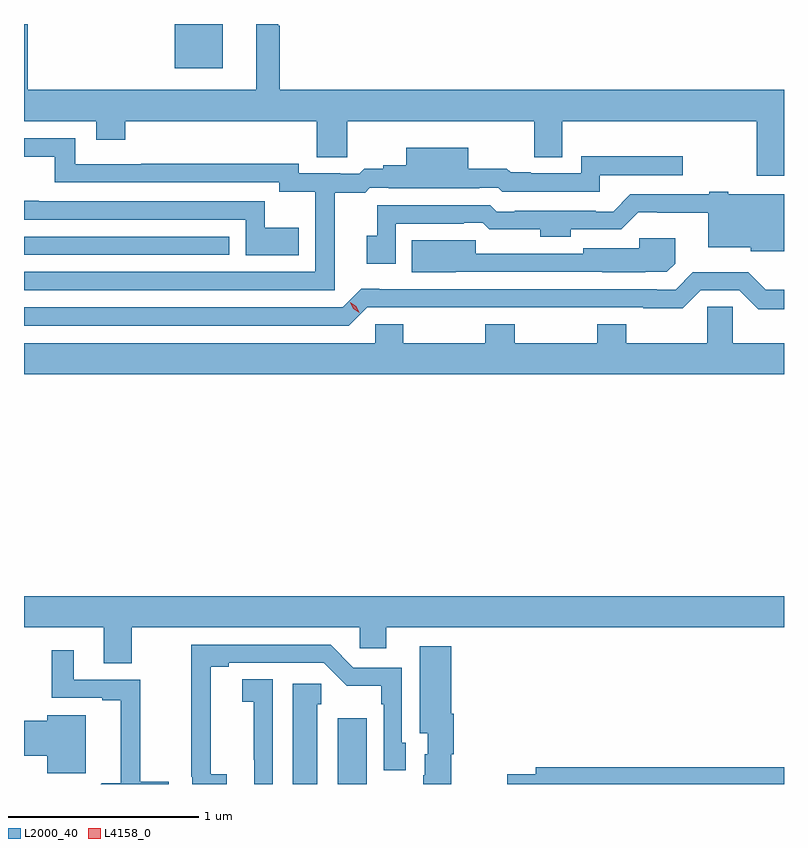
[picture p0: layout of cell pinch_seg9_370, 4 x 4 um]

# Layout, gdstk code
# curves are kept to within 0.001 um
import gdstk
lib = gdstk.Library(unit=1e-6, precision=1e-09)
def R(c, l, rs):  # rectangles x0, y0, x1, y1
    for r in rs: c.add(gdstk.rectangle(r[:2], r[2:], *l))
def P(c, l, *ps):  # polygons
    for p in ps: c.add(gdstk.Polygon(p, *l))
L2000_40 = (2000, 40)
L4158_0 = (4158, 0)

pinch_seg9_370 = lib.new_cell('pinch_seg9_370')
R(pinch_seg9_370, L2000_40, [(288.098,1227.563,288.25,1227.91), (286.446,1230.348,287.527,1230.444), (287.24,1231.331,287.491,1231.563)])
P(pinch_seg9_370, L2000_40, [(290.446,1231.216),(287.791,1231.216),(287.791,1231.553),(287.784,1231.553),(287.784,1231.563),(287.669,1231.563),(287.669,1231.216),(286.466,1231.216),(286.466,1231.563),(286.446,1231.563),(286.446,1231.052),(286.826,1231.052),(286.826,1230.953),(286.979,1230.953),(286.979,1231.052),(287.987,1231.052),(287.987,1230.862),(288.147,1230.862),(288.147,1231.052),(289.132,1231.052),(289.132,1230.862),(289.279,1230.862),(289.279,1231.052),(290.303,1231.052),(290.303,1230.765),(290.446,1230.765)],
  [(288.082,1230.676),(288.241,1230.676),(288.267,1230.702),(288.367,1230.702),(288.367,1230.698),(288.842,1230.698),(288.842,1230.702),(288.942,1230.702),(288.963,1230.681),(289.476,1230.681),(289.476,1230.768),(289.912,1230.768),(289.912,1230.866),(289.38,1230.866),(289.38,1230.777),(289.114,1230.777),(289.114,1230.782),(289.007,1230.782),(288.988,1230.8),(288.784,1230.8),(288.784,1230.913),(288.458,1230.913),(288.458,1230.82),(288.336,1230.82),(288.336,1230.8),(288.236,1230.8),(288.21,1230.774),(288.11,1230.774),(288.11,1230.777),(287.893,1230.777),(287.893,1230.828),(287.062,1230.828),(287.062,1230.825),(286.716,1230.825),(286.716,1230.963),(286.446,1230.963),(286.446,1230.865),(286.608,1230.865),(286.608,1230.729),(287.789,1230.729),(287.789,1230.68),(287.978,1230.68),(287.978,1230.258),(286.446,1230.258),(286.446,1230.162),(288.082,1230.162)],
  [(288.402,1230.513),(288.761,1230.513),(288.761,1230.516),(288.861,1230.516),(288.895,1230.482),(289.163,1230.482),(289.163,1230.443),(289.323,1230.443),(289.323,1230.483),(289.59,1230.483),(289.679,1230.572),(289.78,1230.572),(289.78,1230.569),(290.048,1230.569),(290.048,1230.389),(290.271,1230.389),(290.271,1230.368),(290.446,1230.368),(290.446,1230.667),(290.152,1230.667),(290.152,1230.679),(290.052,1230.679),(290.052,1230.666),(289.638,1230.666),(289.548,1230.576),(289.454,1230.576),(289.454,1230.579),(289.03,1230.579),(289.03,1230.576),(288.934,1230.576),(288.901,1230.609),(288.304,1230.609),(288.304,1230.448),(288.249,1230.448),(288.249,1230.3),(288.402,1230.3)],
  [(287.893,1230.49),(287.714,1230.49),(287.714,1230.63),(286.523,1230.63),(286.523,1230.633),(286.446,1230.633),(286.446,1230.534),(287.613,1230.534),(287.613,1230.347),(287.893,1230.347)],
  [(288.719,1230.258),(289.83,1230.258),(289.873,1230.301),(289.873,1230.435),(289.683,1230.435),(289.683,1230.382),(289.389,1230.382),(289.389,1230.354),(288.823,1230.354),(288.823,1230.424),(288.487,1230.424),(288.487,1230.257)],
  [(288.252,1230.072),(289.705,1230.072),(289.705,1230.068),(289.913,1230.068),(290.007,1230.162),(290.211,1230.162),(290.311,1230.063),(290.446,1230.063),(290.446,1230.165),(290.349,1230.165),(290.258,1230.256),(289.967,1230.257),(289.875,1230.165),(289.775,1230.165),(289.775,1230.168),(288.22,1230.169),(288.123,1230.072),(286.446,1230.072),(286.446,1229.976),(288.156,1229.976)],
  [(290.446,1229.884),(290.177,1229.884),(290.177,1230.075),(290.041,1230.075),(290.041,1229.884),(289.617,1229.884),(289.617,1229.983),(289.462,1229.983),(289.462,1229.884),(289.029,1229.884),(289.029,1229.983),(288.874,1229.983),(288.874,1229.884),(288.441,1229.884),(288.441,1229.982),(288.294,1229.982),(288.294,1229.884),(286.446,1229.884),(286.446,1229.72),(290.446,1229.72)],
  [(286.446,1228.388),(286.865,1228.388),(286.865,1228.198),(287.013,1228.198),(287.013,1228.388),(288.213,1228.388),(288.213,1228.278),(288.352,1228.278),(288.352,1228.388),(290.446,1228.388),(290.446,1228.552),(286.446,1228.552)],
  [(287.512,1227.614),(287.43,1227.614),(287.428,1228.18),(287.524,1228.18),(287.524,1228.2),(288.024,1228.2),(288.145,1228.079),(288.327,1228.079),(288.327,1227.983),(288.339,1227.983),(288.339,1227.636),(288.456,1227.636),(288.456,1227.78),(288.435,1227.78),(288.435,1228.176),(288.18,1228.176),(288.06,1228.296),(287.326,1228.296),(287.326,1227.601),(287.332,1227.601),(287.332,1227.563),(287.512,1227.563)],
  [(288.694,1227.72),(288.707,1227.72),(288.707,1227.934),(288.694,1227.934),(288.694,1228.288),(288.53,1228.288),(288.53,1227.83),(288.572,1227.83),(288.572,1227.72),(288.554,1227.72),(288.554,1227.609),(288.547,1227.609),(288.547,1227.563),(288.694,1227.563)],
  [(287.208,1227.575),(287.057,1227.575),(287.057,1228.113),(286.708,1228.113),(286.708,1228.267),(286.591,1228.267),(286.591,1228.017),(286.859,1228.017),(286.859,1228.005),(286.955,1228.005),(286.955,1227.568),(286.855,1227.568),(286.85,1227.563),(287.208,1227.563)],
  [(287.754,1228.115),(287.595,1228.115),(287.595,1227.995),(287.656,1227.995),(287.656,1227.691),(287.657,1227.691),(287.657,1227.563),(287.754,1227.563)],
  [(287.989,1227.984),(288.011,1227.984),(288.011,1228.09),(287.861,1228.09),(287.861,1227.563),(287.989,1227.563)],
  [(286.771,1227.925),(286.568,1227.925),(286.568,1227.896),(286.446,1227.896),(286.446,1227.713),(286.568,1227.713),(286.568,1227.62),(286.771,1227.62)],
  [(290.446,1227.65),(289.139,1227.65),(289.139,1227.614),(288.99,1227.614),(288.99,1227.563),(290.446,1227.563)])
P(pinch_seg9_370, L4158_0, [(288.21,1230.043),(288.179,1230.064),(288.163,1230.098),(288.163,1230.098),(288.163,1230.098),(288.194,1230.077),(288.21,1230.043),(288.21,1230.043)])

lib.write_gds('pinch_seg9_370.gds')
